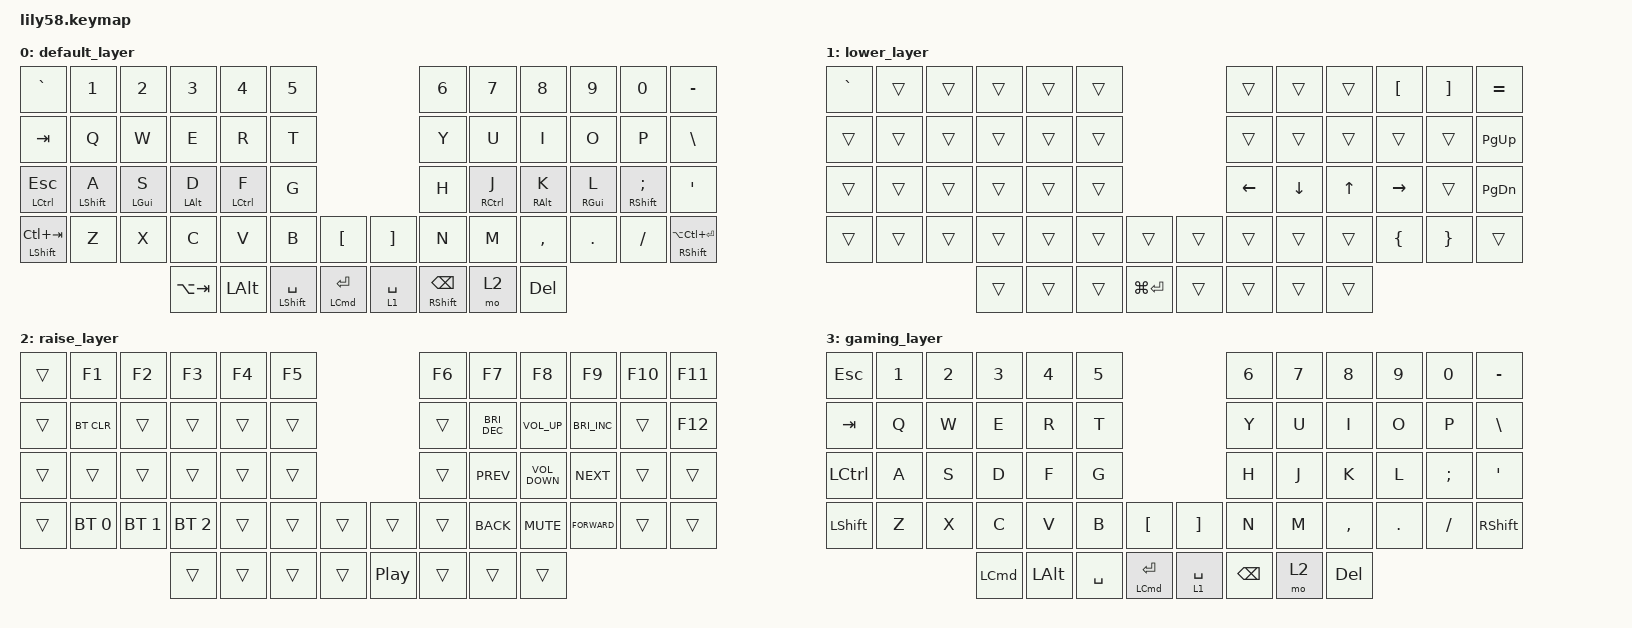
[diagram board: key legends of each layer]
/*
 * Copyright (c) 2020 The ZMK Contributors
 *
 * SPDX-License-Identifier: MIT
 */

#include <behaviors.dtsi>
#include <dt-bindings/zmk/bt.h>
#include <dt-bindings/zmk/keys.h>

&lt { quick-tap-ms = <150>; };

&mt { quick-tap-ms = <150>; };

/ {
    combos {
        compatible = "zmk,combos";

        suspend_right {
            bindings = <&soft_off>;
            key-positions = <43 54 49>;
        };

        suspend_left {
            bindings = <&soft_off>;
            key-positions = <53 42 36>;
        };

        gaming_toggle {
            bindings = <&tog 3>;
            key-positions = <36 52 14>;
        };
    };

    behaviors {
        hold_kp: hold_kp {
            compatible = "zmk,behavior-hold-tap";
            label = "HOLD_KP";
            bindings = <&kp>, <&kp>;

            #binding-cells = <2>;
            tapping-term-ms = <100>;
        };

        hold_layer: hold_layer {
            compatible = "zmk,behavior-hold-tap";
            label = "HOLD_LAYER";
            bindings = <&kp>, <&mo>;

            #binding-cells = <2>;
            tapping-term-ms = <100>;
        };

        lh_pht: left_positional_hold_tap {
            compatible = "zmk,behavior-hold-tap";
            #binding-cells = <2>;
            flavor = "balanced";
            tapping-term-ms = <400>;
            quick-tap-ms = <200>;
            bindings = <&kp>, <&kp>;

            hold-trigger-key-positions = <6 7 8 9 10 11 18 19 20 21 22 23 30 31 32 33 34 35 43 44 45 46 47 48 49 54 55 56 57>;
            hold-trigger-on-release;
            require-prior-idle-ms = <150>;
        };

        rh_pht: right_positional_hold_tap {
            compatible = "zmk,behavior-hold-tap";
            #binding-cells = <2>;
            flavor = "balanced";
            tapping-term-ms = <400>;
            quick-tap-ms = <200>;
            bindings = <&kp>, <&kp>;

            hold-trigger-key-positions = <0 1 2 3 4 5 12 13 14 15 16 17 24 25 26 27 28 29 36 37 38 39 40 41 42 50 51 52 53>;
            hold-trigger-on-release;
            require-prior-idle-ms = <150>;
        };
    };

    keymap {
        compatible = "zmk,keymap";

        default_layer {
            // ------------------------------------------------------------------------------------------------------------
            // |   `   |  1  |  2  |  3   |  4   |  5   |                   |  6   |  7    |  8    |  9   |   0   |   -   |
            // |  TAB  |  Q  |  W  |  E   |  R   |  T   |                   |  Y   |  U    |  I    |  O   |   P   |   \   |
            // |CTRL/ESC| A  |  S  |  D   |  F   |  G   |                   |  H   |  J    |  K    |  L   |   ;   |   '   |
            // | SHIFT |  Z  |  X  |  C   |  V   |  B   |   "["  |  |  "]"  |  N   |  M    |  ,    |  .   |   /   | SHIFT |
            //                     | ALT  | GUI  | LOWER|  SPACE |  | ENTER | RAISE| BSPC  | GUI   |
            // Homerow mods on row 3: A=LSHIFT, S=LGUI, D=LALT, F=LCTRL, J=RCTRL, K=RALT, L=RGUI, ;=RSHIFT

            bindings = <
&kp GRAVE               &kp N1                &kp N2              &kp N3                &kp N4               &kp N5                                                             &kp N6                     &kp N7               &kp N8                &kp N9                &kp N0                         &kp MINUS
&kp TAB                 &kp Q                 &kp W               &kp E                 &kp R                &kp T                                                              &kp Y                      &kp U                &kp I                 &kp O                 &kp P                          &kp BACKSLASH
&mt LCTRL ESC           &lh_pht LEFT_SHIFT A  &lh_pht LEFT_GUI S  &lh_pht LEFT_ALT D    &lh_pht LCTRL F      &kp G                                                              &kp H                      &rh_pht RCTRL J      &rh_pht RIGHT_ALT K   &rh_pht RIGHT_GUI L   &rh_pht RIGHT_SHIFT SEMI       &kp SQT
&mt LEFT_SHIFT LC(TAB)  &kp Z                 &kp X               &kp C                 &kp V                &kp B                 &kp LEFT_BRACKET          &kp RIGHT_BRACKET  &kp N                      &kp M                &kp COMMA             &kp PERIOD            &kp FSLH                       &mt RIGHT_SHIFT LA(LC(ENTER))
                                                                  &kp LA(TAB)           &kp LEFT_ALT         &mt LEFT_SHIFT SPACE  &mt LEFT_COMMAND ENTER    &lt 1 SPACE        &mt RIGHT_SHIFT BACKSPACE  &mo 2                &kp DELETE
            >;
        };

        lower_layer {
            // ------------------------------------------------------------------------------------------------------------
            // | BTCLR | BT1 | BT2 |  BT3 |  BT4 |  BT5 |                   |      |       |       |      |       |       |
            // |  F1   |  F2 |  F3 |  F4  |  F5  |  F6  |                   |  F7  |  F8   |  F9   |  F10 |  F11  |  F12  |
            // |   `   |  !  |  @  |  #   |  $   |  %   |                   |  ^   |  &    |  *    |  (   |   )   |   ~   |
            // |       |     |     |      |      |      |        |  |       |      |  _    |  +    |  {   |   }   |  "|"  |
            //                     |      |      |      |        |  |       |      |       |       |

            bindings = <
&kp GRAVE  &trans  &trans  &trans  &trans  &trans                           &trans  &trans          &trans          &kp LEFT_BRACKET  &kp RIGHT_BRACKET  &kp EQUAL
&trans     &trans  &trans  &trans  &trans  &trans                           &trans      &trans          &trans          &trans            &trans             &kp PG_UP
&trans     &trans  &trans  &trans  &trans  &trans                           &kp LEFT_ARROW  &kp DOWN_ARROW  &kp UP_ARROW  &kp RIGHT_ARROW   &trans             &kp PAGE_DOWN
&trans     &trans  &trans  &trans  &trans  &trans  &trans           &trans  &trans      &trans          &trans          &kp LBRC          &kp RBRC           &trans
                           &trans  &trans  &trans  &kp LG(ENTER)    &trans  &trans      &trans          &trans
            >;
        };

        raise_layer {
            bindings = <
&trans  &kp F1        &kp F2        &kp F3        &kp F4  &kp F5                              &kp F6  &kp F7                &kp F8             &kp F9                &kp F10  &kp F11
&trans  &bt BT_CLR    &trans        &trans        &trans  &trans                              &trans  &kp C_BRIGHTNESS_DEC  &kp C_VOLUME_UP    &kp C_BRIGHTNESS_INC  &trans   &kp F12
&trans  &trans        &trans        &trans        &trans  &trans                              &trans  &kp C_PREV            &kp C_VOLUME_DOWN  &kp C_NEXT            &trans   &trans
&trans  &bt BT_SEL 0  &bt BT_SEL 1  &bt BT_SEL 2  &trans  &trans  &trans    &trans            &trans  &kp K_BACK            &kp K_MUTE         &kp K_FORWARD         &trans   &trans
                                    &trans        &trans  &trans  &trans    &kp C_PLAY_PAUSE  &trans  &trans                &trans
            >;
        };

        gaming_layer {
            // ------------------------------------------------------------------------------------------------------------
            // |  ESC  |  1  |  2  |  3   |  4   |  5   |                   |  6   |  7    |  8    |  9   |   0   |   `   |
            // |  TAB  |  Q  |  W  |  E   |  R   |  T   |                   |  Y   |  U    |  I    |  O   |   P   |   -   |
            // |  CTRL |  A  |  S  |  D   |  F   |  G   |                   |  H   |  J    |  K    |  L   |   ;   |   '   |
            // | SHIFT |  Z  |  X  |  C   |  V   |  B   |   "["  |  |  "]"  |  N   |  M    |  ,    |  .   |   /   | SHIFT |
            //                     | ALT  | GUI  | LOWER|  SPACE |  | ENTER | RAISE| BSPC  | GUI   |

            bindings = <
&kp ESC         &kp N1  &kp N2  &kp N3            &kp N4        &kp N5                                                  &kp N6         &kp N7  &kp N8      &kp N9   &kp N0    &kp MINUS
&kp TAB         &kp Q   &kp W   &kp E             &kp R         &kp T                                                   &kp Y          &kp U   &kp I       &kp O    &kp P     &kp BACKSLASH
&kp LCTRL       &kp A   &kp S   &kp D             &kp F         &kp G                                                   &kp H          &kp J   &kp K       &kp L    &kp SEMI  &kp SQT
&kp LEFT_SHIFT  &kp Z   &kp X   &kp C             &kp V         &kp B      &kp LEFT_BRACKET          &kp RIGHT_BRACKET  &kp N          &kp M   &kp COMMA   &kp DOT  &kp FSLH  &kp RSHFT
                                &kp LEFT_COMMAND  &kp LEFT_ALT  &kp SPACE  &mt LEFT_COMMAND ENTER    &lt 1 SPACE        &kp BACKSPACE  &mo 2   &kp DELETE
            >;
        };
    };
};
